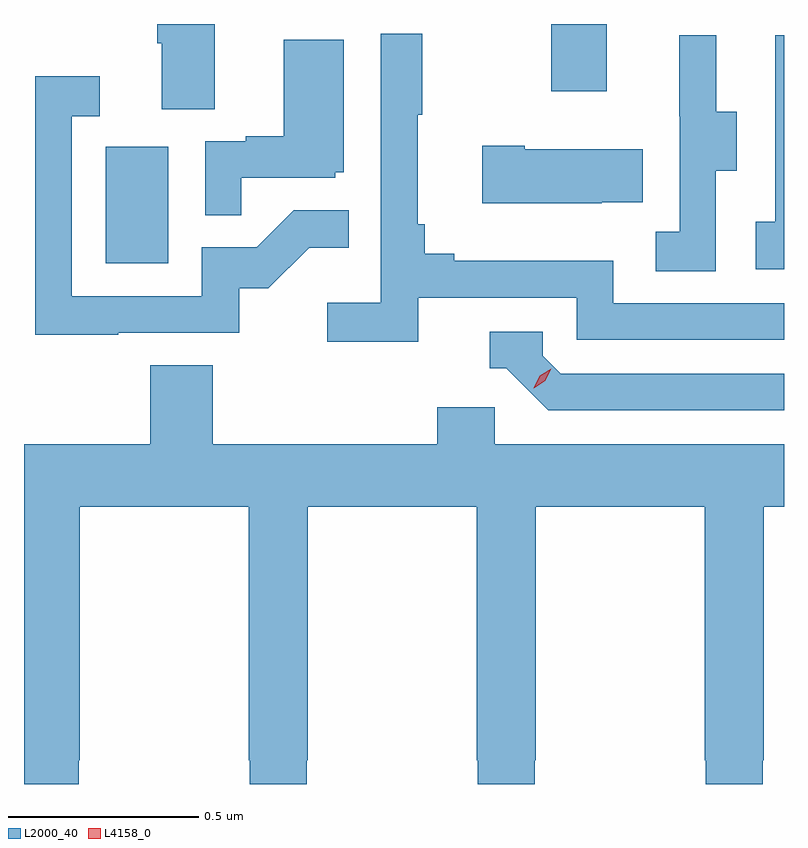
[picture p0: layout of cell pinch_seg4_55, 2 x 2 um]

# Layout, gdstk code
import gdstk
lib = gdstk.Library(unit=1e-6, precision=1e-09)
def R(c, l, rs):  # rectangles x0, y0, x1, y1
    for r in rs: c.add(gdstk.rectangle(r[:2], r[2:], *l))
def P(c, l, *ps):  # polygons
    for p in ps: c.add(gdstk.Polygon(p, *l))
L2000_40 = (2000, 40)
L4158_0 = (4158, 0)

pinch_seg4_55 = lib.new_cell('pinch_seg4_55')
R(pinch_seg4_55, L2000_40, [(1018.91,818.772,1019.074,819.079), (1020.082,819.225,1020.229,819.402)])
P(pinch_seg4_55, L2000_40, [(1019.197,819.402),(1019.045,819.402),(1019.045,819.352),(1019.057,819.352),(1019.057,819.178),(1019.197,819.178)],
  [(1019.732,818.682),(1020.15,818.682),(1020.15,818.571),(1020.695,818.571),(1020.695,818.667),(1020.246,818.667),(1020.246,818.779),(1019.827,818.779),(1019.827,818.798),(1019.75,818.798),(1019.75,818.875),(1019.731,818.875),(1019.731,819.163),(1019.743,819.163),(1019.743,819.376),(1019.634,819.376),(1019.634,818.668),(1019.493,818.668),(1019.493,818.566),(1019.732,818.566)],
  [(1020.516,819.016),(1020.571,819.016),(1020.571,819.171),(1020.517,819.171),(1020.517,819.373),(1020.419,819.373),(1020.419,819.159),(1020.42,819.159),(1020.42,818.855),(1020.357,818.855),(1020.357,818.752),(1020.516,818.752)],
  [(1020.695,819.373),(1020.672,819.373),(1020.672,818.882),(1020.621,818.882),(1020.621,818.757),(1020.695,818.757)],
  [(1019.267,818.997),(1019.514,818.997),(1019.514,819.012),(1019.536,819.012),(1019.536,819.361),(1019.378,819.361),(1019.378,819.106),(1019.279,819.106),(1019.279,819.093),(1019.172,819.093),(1019.172,818.899),(1019.267,818.899)],
  [(1018.943,818.589),(1019.262,818.589),(1019.262,818.706),(1019.338,818.706),(1019.445,818.813),(1019.549,818.813),(1019.549,818.912),(1019.405,818.912),(1019.307,818.814),(1019.163,818.814),(1019.163,818.685),(1018.821,818.685),(1018.821,819.159),(1018.894,819.159),(1018.894,819.265),(1018.725,819.265),(1018.725,818.584),(1018.943,818.584)],
  [(1020.215,818.933),(1020.323,818.933),(1020.323,819.073),(1020.013,819.073),(1020.013,819.081),(1019.901,819.081),(1019.901,818.93),(1020.215,818.93)],
  [(1020.695,818.481),(1020.108,818.481),(1020.06,818.529),(1020.06,818.592),(1019.921,818.592),(1019.921,818.496),(1019.964,818.496),(1020.075,818.385),(1020.695,818.385)],
  [(1018.839,817.465),(1018.842,817.465),(1018.842,818.132),(1019.287,818.132),(1019.287,817.465),(1019.289,817.465),(1019.289,817.402),(1019.439,817.402),(1019.439,817.465),(1019.442,817.465),(1019.442,818.132),(1019.887,818.132),(1019.887,817.465),(1019.889,817.465),(1019.889,817.402),(1020.039,817.402),(1020.039,817.465),(1020.042,817.465),(1020.042,818.132),(1020.487,818.132),(1020.487,817.465),(1020.489,817.465),(1020.489,817.402),(1020.639,817.402),(1020.639,817.465),(1020.642,817.465),(1020.642,818.132),(1020.695,818.132),(1020.695,818.296),(1019.934,818.296),(1019.934,818.394),(1019.783,818.394),(1019.783,818.296),(1019.192,818.296),(1019.192,818.504),(1019.027,818.504),(1019.027,818.296),(1018.695,818.296),(1018.695,817.402),(1018.839,817.402)])
P(pinch_seg4_55, L4158_0, [(1020.036,818.444),(1020.036,818.444),(1020.052,818.476),(1020.083,818.495),(1020.083,818.495),(1020.083,818.495),(1020.067,818.463),(1020.036,818.444)])

lib.write_gds('pinch_seg4_55.gds')
